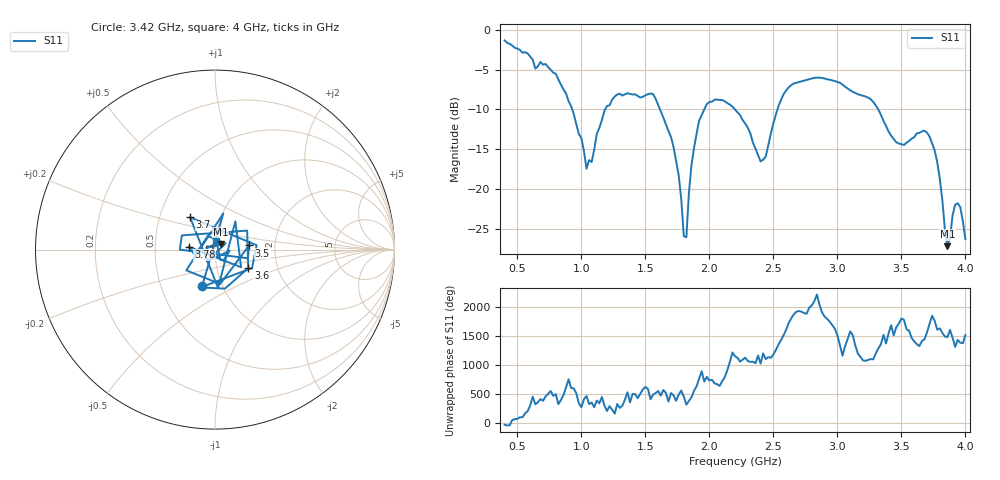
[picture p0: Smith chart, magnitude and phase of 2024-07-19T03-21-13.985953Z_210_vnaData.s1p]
!Created with skrf (http://scikit-rf.org).
# Hz S RI R 50.0
!freq ReS11 ImS11
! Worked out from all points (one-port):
!   181 points, 400 MHz to 4 GHz, reference 50 ohm
!   lowest |S11| = -27.1 dB at 3.86 GHz (marker M1), VSWR 1.09, Z = 53.1 + j3.37 ohm
!   |S11| at or under -10 dB: 1.614 GHz to 1.959 GHz (345.2 MHz wide, 19.3 % of centre); 2.199 GHz to 2.532 GHz (332.4 MHz wide, 14.1 % of centre); 3.32 GHz to end of sweep (the widest 3 of 4)
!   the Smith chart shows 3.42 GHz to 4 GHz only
!   S11 on the Smith chart (normalised r, x): 3.42 GHz: 0.80, -0.34; 3.5 GHz: 1.47, +0.07; 3.6 GHz: 1.42, -0.31; 3.7 GHz: 0.71, +0.27; 3.78 GHz: 0.74, +0.02; 4 GHz: 1.01, +0.10
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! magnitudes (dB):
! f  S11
! 400 MHz  -1.4
! 860 MHz  -7.5
! 1.04 GHz  -17.4
! 1.18 GHz  -10.1
! 1.3 GHz  -8.0
! 1.56 GHz  -8.1
! 1.7 GHz  -13.4
! 1.76 GHz  -18.2
! 1.8 GHz  -25.9
! 1.82 GHz  -26.0
! 1.86 GHz  -17.0
! 1.92 GHz  -11.4
! 2.04 GHz  -8.8
! 2.2 GHz  -10.0
! 2.4 GHz  -16.5
! 2.56 GHz  -8.8
! 2.66 GHz  -6.7
! 3.1 GHz  -7.6
! 3.28 GHz  -9.1
! 3.42 GHz  -13.3
! 3.5 GHz  -14.4
! 3.56 GHz  -13.9
! 3.6 GHz  -13.5
! 3.7 GHz  -12.9
! 3.78 GHz  -16.6
! 3.86 GHz  -27.1
! 3.94 GHz  -21.7
! 4 GHz  -26.2
